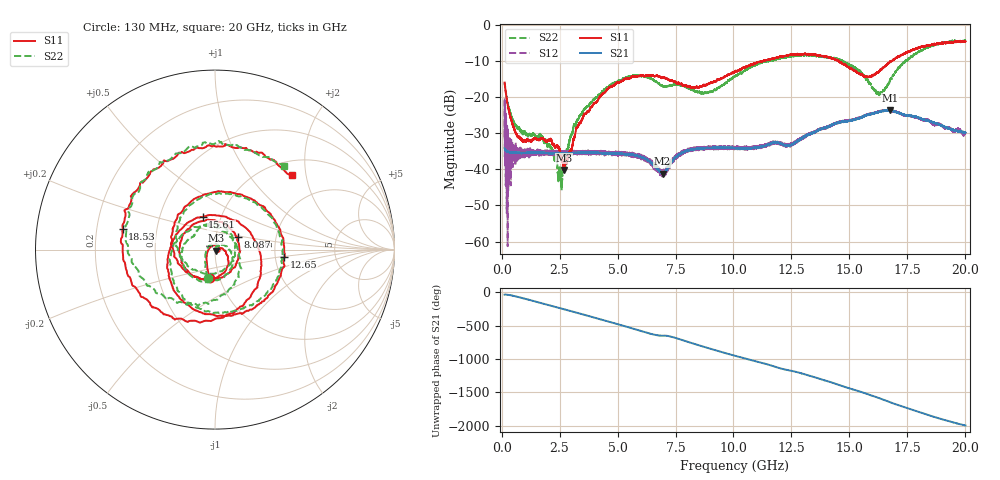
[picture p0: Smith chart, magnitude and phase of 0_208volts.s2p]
!Created with skrf (http://scikit-rf.org).
# GHz S RI R 50.0
!freq ReS11 ImS11 ReS21 ImS21 ReS12 ImS12 ReS22 ImS22
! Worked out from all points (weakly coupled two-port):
!   20013 points, 130 MHz to 20 GHz, reference 50 ohm
!   highest |S21| = -23.60 dB at 16.75 GHz (marker M1); lowest = -41.2 dB at 6.942 GHz (marker M2)
!   lowest |S11| = -40.2 dB at 2.691 GHz (marker M3), VSWR 1.02, Z = 50.8 - j0.564 ohm
!   |S11| at or under -10 dB: start of sweep to 11.27 GHz; 14.52 GHz to 16.78 GHz (2.254 GHz wide, 14.4 % of centre); 16.79724 GHz to 16.83251 GHz (35.27 MHz wide, 0.21 % of centre) (the widest 3 of 14)
!   |S22| runs from -46.0 to -4.3 dB; largest |S21 - S12| = 0.079
!   S11 on the Smith chart (normalised r, x): 130 MHz: 0.90, -0.29; 8.087 GHz: 1.27, +0.18; 12.65 GHz: 2.25, -0.21; 15.61 GHz: 0.82, +0.31; 18.53 GHz: 0.31, +0.10; 20 GHz: 1.33, +1.66
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0.13  -0.0284 -0.1563  0.0157 -0.0116  0.0209 0.0195  -0.0369 -0.1562
0.699  -0.024 0.0154  0.00563 -0.016  0.00537 -0.0171  -0.0307 0.0201
2.085  0.0235 -0.0104  -0.0158 0.00533  -0.0161 0.00492  0.0208 -0.000366
2.518  0.015 -0.00956  -0.00866 0.0144  -0.00882 0.015  0.0107 0.00108
2.691  0.00804 -0.00555  -0.00421 0.0161  -0.00443 0.0161  0.00503 0.0109
3.442  0.0467 0.000641  0.0139 0.00938  0.0135 0.00979  0.0528 0.0228
5.31  -0.0533 -0.1709  -0.014 -0.00841  -0.014 -0.00773  -0.0335 -0.1802
6.754  -0.1726 0.0906  0.00292 0.00953  0.00307 0.00999  -0.1429 0.0615
6.942  -0.1341 0.1297  0.00314 0.00814  0.00339 0.00854  -0.1228 0.071
8.087  0.1257 0.069  0.016 -0.00917  0.0158 -0.00894  0.0589 0.1183
10.065  -0.222 -0.0443  -0.012 0.0157  -0.0123 0.0164  -0.1882 -0.0433
11.408  0.0354 0.3243  0.0215 0.00146  0.022 0.00143  0.00867 0.3107
12.655  0.3864 -0.0405  -0.00823 -0.022  -0.00813 -0.0217  0.37 0.0478
13.377  0.2173 -0.3257  -0.0316 0.00087  -0.0321 0.0012  0.2919 -0.2374
14.608  -0.2499 -0.1728  0.0326 0.0312  0.0337 0.0318  -0.1612 -0.2822
15.605  -0.0693 0.1814  0.0226 -0.0488  0.0232 -0.049  -0.1803 0.0847
16.689  0.2487 -0.1591  -0.0624 0.0215  -0.0617 0.0217  0.1389 -0.0636
16.755  0.2384 -0.1997  -0.0585 0.0307  -0.0577 0.0303  0.144 -0.0986
17.628  -0.2078 -0.3849  0.0371 0.0404  0.0371 0.0399  -0.1986 -0.2914
18.529  -0.5152 0.1163  0.0266 -0.0371  0.0289 -0.0346  -0.4971 0.1188
19.283  -0.1368 0.5476  -0.0245 -0.0274  -0.0237 -0.0285  -0.165 0.5495
20  0.4304 0.4068  -0.0311 0.00879  -0.0301 0.0087  0.3894 0.4656
